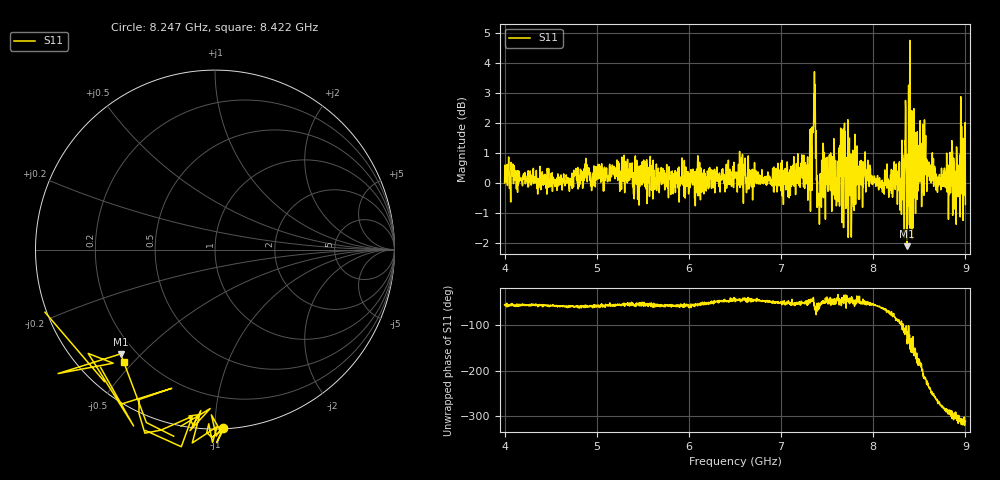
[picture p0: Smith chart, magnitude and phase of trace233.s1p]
! Created with skrf 1.8.0 (http://scikit-rf.org).
# Hz S RI R 50.0
!freq ReS11 ImS11
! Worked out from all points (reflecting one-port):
!   1601 points, 4 GHz to 9 GHz, reference 50 ohm
!   lowest |S11| = -2.1 dB at 8.366 GHz (marker M1), VSWR 8.24, Z = 7.24 - j21.8 ohm
!   phase of S11 starts at -56 deg and turns -254 deg over the sweep
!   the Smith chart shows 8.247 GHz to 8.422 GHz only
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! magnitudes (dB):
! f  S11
! 4 GHz  0.0
! 4.625 GHz  -0.2
! 5.25 GHz  -0.3
! 5.875 GHz  0.2
! 6.5 GHz  0.3
! 7.125 GHz  0.3
! 7.294 GHz  0.6
! 7.316 GHz  0.1
! 7.356 GHz  3.0
! 7.369 GHz  3.3
! 7.412 GHz  -0.4
! 7.475 GHz  -0.2
! 7.609 GHz  0.2
! 7.672 GHz  1.5
! 7.75 GHz  0.3
! 7.922 GHz  -0.2
! 8.312 GHz  1.4
! 8.334 GHz  -0.6
! 8.356 GHz  1.3
! 8.366 GHz  -2.1
! 8.375 GHz  -0.8
! 8.447 GHz  1.7
! 8.459 GHz  -1.0
! 8.553 GHz  -0.2
! 8.712 GHz  0.2
! 8.906 GHz  1.2
! 8.972 GHz  0.4
! 9 GHz  -0.7
